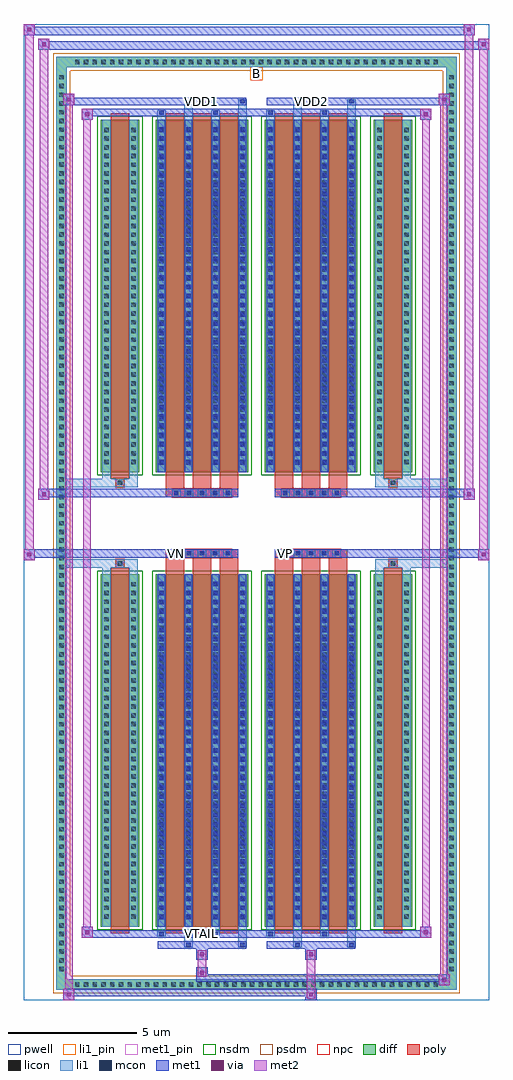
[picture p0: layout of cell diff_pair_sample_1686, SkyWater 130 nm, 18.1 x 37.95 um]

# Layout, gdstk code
import gdstk
lib = gdstk.Library(unit=1e-6, precision=5e-09)
def R(c, l, rs):  # rectangles x0, y0, x1, y1
    for r in rs: c.add(gdstk.rectangle(r[:2], r[2:], *l))
def A(c, l, x, y, w, h, nx, ny, dx, dy):  # array of equal rectangles
    R(c, l, [(x+i*dx, y+j*dy, x+i*dx+w, y+j*dy+h) for i in range(nx) for j in range(ny)])
def P(c, l, *ps):  # polygons
    for p in ps: c.add(gdstk.Polygon(p, *l))
pwell = (64, 44)
diff = (65, 20)
poly = (66, 20)
licon = (66, 44)
li1_pin = (67, 16)
li1 = (67, 20)
mcon = (67, 44)
met1_pin = (68, 16)
met1 = (68, 20)
via = (68, 44)
met2 = (69, 20)
nsdm = (93, 44)
psdm = (94, 20)
npc = (95, 20)

diff_pair_sample_1686 = lib.new_cell('diff_pair_sample_1686')
R(diff_pair_sample_1686, pwell, [(-9.05,-18.54,9.05,19.41), (-6.37,-16.73,-0.01,-0.805), (0.01,-16.73,6.37,-0.805), (-6.37,0.805,-0.01,16.73), (0.01,0.805,6.37,16.73)])
A(diff_pair_sample_1686, diff, -7.175, -18.14, 0.41, 0.41, 42, 2, 0.34, 35.87)
A(diff_pair_sample_1686, diff, -7.78, -17.545, 0.41, 0.41, 1, 103, 0, 0.34)
A(diff_pair_sample_1686, diff, 7.37, -17.545, 0.41, 0.41, 1, 103, 0, 0.34)
R(diff_pair_sample_1686, diff, [(-7.175,-18.14,7.175,-17.73), (-7.78,-17.545,-7.37,17.545), (7.37,-17.545,7.78,17.545), (-6.06,-15.685,-4.56,-1.985), (-3.92,-15.685,-0.32,-1.985), (0.32,-15.685,3.92,-1.985), (4.56,-15.685,6.06,-1.985), (-6.06,1.985,-4.56,15.685), (-3.92,1.985,-0.32,15.685), (0.32,1.985,3.92,15.685), (4.56,1.985,6.06,15.685), (-7.175,17.73,7.175,18.14)])
P(diff_pair_sample_1686, diff, [(7.78,18.14),(-7.78,18.14),(-7.78,-17.73),(-7.37,-17.73),(-7.37,17.73),(7.37,17.73),(7.37,-17.73),(-7.37,-17.73),(-7.78,-17.73),(-7.78,-18.14),(7.78,-18.14)])
A(diff_pair_sample_1686, poly, -3.53, -15.935, 0.72, 14.2, 3, 2, 1.05, 17.67)
A(diff_pair_sample_1686, poly, 0.71, -15.935, 0.72, 14.2, 3, 2, 1.05, 17.67)
A(diff_pair_sample_1686, poly, -3.53, -1.735, 0.72, 0.4, 3, 2, 1.05, 3.07)
A(diff_pair_sample_1686, poly, 0.71, -1.735, 0.72, 0.4, 3, 2, 1.05, 3.07)
A(diff_pair_sample_1686, poly, -3.285, -1.335, 0.33, 0.33, 5, 2, 0.5, 2.34)
A(diff_pair_sample_1686, poly, 0.955, -1.335, 0.33, 0.33, 5, 2, 0.5, 2.34)
R(diff_pair_sample_1686, poly, [(-5.67,-15.935,-4.95,-1.735), (4.95,-15.935,5.67,-1.735), (-5.475,-1.735,-5.145,-1.405), (-5.475,-1.735,-5.145,-1.405), (5.145,-1.735,5.475,-1.405), (5.145,-1.735,5.475,-1.405), (-3.53,-1.335,-0.71,-1.005), (0.71,-1.335,3.53,-1.005), (-3.53,1.005,-0.71,1.335), (0.71,1.005,3.53,1.335), (-5.475,1.405,-5.145,1.735), (-5.475,1.405,-5.145,1.735), (5.145,1.405,5.475,1.735), (5.145,1.405,5.475,1.735), (-5.67,1.735,-4.95,15.935), (4.95,1.735,5.67,15.935)])
A(diff_pair_sample_1686, licon, -7.055, -18.02, 0.17, 0.17, 42, 2, 0.34, 35.87)
A(diff_pair_sample_1686, licon, -7.66, -17.425, 0.17, 0.17, 1, 103, 0, 0.34)
A(diff_pair_sample_1686, licon, 7.49, -17.425, 0.17, 0.17, 1, 103, 0, 0.34)
A(diff_pair_sample_1686, licon, -5.92, -15.38, 0.17, 0.17, 1, 39, 0, 0.34)
A(diff_pair_sample_1686, licon, -4.87, -15.38, 0.17, 0.17, 1, 39, 0, 0.34)
A(diff_pair_sample_1686, licon, -3.78, -15.38, 0.17, 0.17, 4, 39, 1.05, 0.34)
A(diff_pair_sample_1686, licon, 0.46, -15.38, 0.17, 0.17, 4, 39, 1.05, 0.34)
A(diff_pair_sample_1686, licon, 4.7, -15.38, 0.17, 0.17, 1, 39, 0, 0.34)
A(diff_pair_sample_1686, licon, 5.75, -15.38, 0.17, 0.17, 1, 39, 0, 0.34)
A(diff_pair_sample_1686, licon, -3.205, -1.255, 0.17, 0.17, 5, 2, 0.5, 2.34)
A(diff_pair_sample_1686, licon, 1.035, -1.255, 0.17, 0.17, 5, 2, 0.5, 2.34)
A(diff_pair_sample_1686, licon, -5.92, 2.29, 0.17, 0.17, 1, 39, 0, 0.34)
A(diff_pair_sample_1686, licon, -4.87, 2.29, 0.17, 0.17, 1, 39, 0, 0.34)
A(diff_pair_sample_1686, licon, -3.78, 2.29, 0.17, 0.17, 4, 39, 1.05, 0.34)
A(diff_pair_sample_1686, licon, 0.46, 2.29, 0.17, 0.17, 4, 39, 1.05, 0.34)
A(diff_pair_sample_1686, licon, 4.7, 2.29, 0.17, 0.17, 1, 39, 0, 0.34)
A(diff_pair_sample_1686, licon, 5.75, 2.29, 0.17, 0.17, 1, 39, 0, 0.34)
R(diff_pair_sample_1686, licon, [(-5.395,-1.655,-5.225,-1.485), (5.225,-1.655,5.395,-1.485), (-5.395,1.485,-5.225,1.655), (5.225,1.485,5.395,1.655)])
R(diff_pair_sample_1686, li1_pin, [(-0.25,17.23,0.25,17.73)])
A(diff_pair_sample_1686, li1, -7.135, -18.1, 0.33, 0.33, 42, 2, 0.34, 35.87)
A(diff_pair_sample_1686, li1, -7.74, -17.505, 0.33, 0.33, 1, 103, 0, 0.34)
A(diff_pair_sample_1686, li1, 7.41, -17.505, 0.33, 0.33, 1, 103, 0, 0.34)
A(diff_pair_sample_1686, li1, -3.86, -15.685, 0.33, 13.7, 4, 2, 1.05, 17.67)
A(diff_pair_sample_1686, li1, 0.38, -15.685, 0.33, 13.7, 4, 2, 1.05, 17.67)
A(diff_pair_sample_1686, li1, -6, -15.46, 0.33, 0.33, 1, 39, 0, 0.34)
A(diff_pair_sample_1686, li1, -4.95, -15.46, 0.33, 0.33, 1, 39, 0, 0.34)
A(diff_pair_sample_1686, li1, -3.86, -15.46, 0.33, 0.33, 4, 39, 1.05, 0.34)
A(diff_pair_sample_1686, li1, 0.38, -15.46, 0.33, 0.33, 4, 39, 1.05, 0.34)
A(diff_pair_sample_1686, li1, 4.62, -15.46, 0.33, 0.33, 1, 39, 0, 0.34)
A(diff_pair_sample_1686, li1, 5.67, -15.46, 0.33, 0.33, 1, 39, 0, 0.34)
A(diff_pair_sample_1686, li1, -3.78, -15.4, 0.17, 0.17, 4, 37, 1.05, 0.36)
A(diff_pair_sample_1686, li1, -3.78, -15.4, 0.17, 13.13, 4, 2, 1.05, 17.67)
A(diff_pair_sample_1686, li1, 0.46, -15.4, 0.17, 0.17, 4, 37, 1.05, 0.36)
A(diff_pair_sample_1686, li1, 0.46, -15.4, 0.17, 13.13, 4, 2, 1.05, 17.67)
A(diff_pair_sample_1686, li1, -3.285, -1.335, 0.33, 0.33, 5, 2, 0.5, 2.34)
A(diff_pair_sample_1686, li1, 0.955, -1.335, 0.33, 0.33, 5, 2, 0.5, 2.34)
A(diff_pair_sample_1686, li1, -6, 2.21, 0.33, 0.33, 1, 39, 0, 0.34)
A(diff_pair_sample_1686, li1, -4.95, 2.21, 0.33, 0.33, 1, 39, 0, 0.34)
A(diff_pair_sample_1686, li1, -3.86, 2.21, 0.33, 0.33, 4, 39, 1.05, 0.34)
A(diff_pair_sample_1686, li1, 0.38, 2.21, 0.33, 0.33, 4, 39, 1.05, 0.34)
A(diff_pair_sample_1686, li1, 4.62, 2.21, 0.33, 0.33, 1, 39, 0, 0.34)
A(diff_pair_sample_1686, li1, 5.67, 2.21, 0.33, 0.33, 1, 39, 0, 0.34)
A(diff_pair_sample_1686, li1, -3.78, 2.27, 0.17, 0.17, 4, 37, 1.05, 0.36)
A(diff_pair_sample_1686, li1, 0.46, 2.27, 0.17, 0.17, 4, 37, 1.05, 0.36)
R(diff_pair_sample_1686, li1, [(-7.78,-18.14,-7.37,-17.73), (-7.78,-18.14,-7.37,-17.73), (-7.37,-18.14,7.37,-17.73), (7.37,-18.14,7.78,-17.73), (7.37,-18.14,7.78,-17.73), (-7.78,-17.73,-7.37,17.73), (7.37,-17.73,7.78,17.73), (-2.81,-16.49,-2.48,-15.685), (-2.73,-16.49,-2.56,-16.32), (-0.71,-16.49,-0.38,-15.685), (-0.63,-16.49,-0.46,-16.32), (1.43,-16.49,1.76,-15.685), (1.51,-16.49,1.68,-16.32), (3.53,-16.49,3.86,-15.685), (3.61,-16.49,3.78,-16.32), (-3.86,-16.06,-3.53,-15.685), (-3.78,-16.06,-3.61,-15.89), (-1.76,-16.06,-1.43,-15.685), (-1.68,-16.06,-1.51,-15.89), (0.38,-16.06,0.71,-15.685), (0.46,-16.06,0.63,-15.89), (2.48,-16.06,2.81,-15.685), (2.56,-16.06,2.73,-15.89), (-6,-15.685,-5.67,-1.985), (-4.95,-15.685,-4.62,-1.985), (4.62,-15.685,4.95,-1.985), (5.67,-15.685,6,-1.985), (-6,-1.985,-5.67,-1.405), (-4.95,-1.985,-4.62,-1.405), (4.62,-1.985,4.95,-1.405), (5.67,-1.985,6,-1.405), (-7.78,-1.735,-5.475,-1.405), (-6,-1.735,-5.475,-1.405), (-5.475,-1.735,-5.145,-1.405), (-5.145,-1.735,-4.62,-1.405), (4.62,-1.735,5.145,-1.405), (5.145,-1.735,5.475,-1.405), (5.145,-1.735,7.78,-1.405), (5.475,-1.735,6,-1.405), (-7.78,1.405,-5.475,1.735), (-6,1.405,-5.475,1.735), (-6,1.405,-5.67,1.985), (-5.475,1.405,-5.145,1.735), (-5.145,1.405,-4.62,1.735), (-4.95,1.405,-4.62,1.985), (4.62,1.405,5.145,1.735), (4.62,1.405,4.95,1.985), (5.145,1.405,5.475,1.735), (5.145,1.405,7.78,1.735), (5.475,1.405,6,1.735), (5.67,1.405,6,1.985), (-6,1.985,-5.67,15.685), (-4.95,1.985,-4.62,15.685), (4.62,1.985,4.95,15.685), (5.67,1.985,6,15.685), (-3.86,15.685,-3.53,16.06), (-2.81,15.685,-2.48,16.49), (-1.76,15.685,-1.43,16.06), (-0.71,15.685,-0.38,16.49), (0.38,15.685,0.71,16.06), (1.43,15.685,1.76,16.49), (2.48,15.685,2.81,16.06), (3.53,15.685,3.86,16.49), (-3.78,15.89,-3.61,16.06), (-1.68,15.89,-1.51,16.06), (0.46,15.89,0.63,16.06), (2.56,15.89,2.73,16.06), (-2.73,16.32,-2.56,16.49), (-0.63,16.32,-0.46,16.49), (1.51,16.32,1.68,16.49), (3.61,16.32,3.78,16.49), (-7.78,17.73,-7.37,18.14), (-7.78,17.73,-7.37,18.14), (-7.37,17.73,7.37,18.14), (7.37,17.73,7.78,18.14), (7.37,17.73,7.78,18.14)])
A(diff_pair_sample_1686, mcon, -3.78, -15.4, 0.17, 0.17, 4, 37, 1.05, 0.36)
A(diff_pair_sample_1686, mcon, 0.46, -15.4, 0.17, 0.17, 4, 37, 1.05, 0.36)
A(diff_pair_sample_1686, mcon, -3.205, -1.255, 0.17, 0.17, 5, 2, 0.5, 2.34)
A(diff_pair_sample_1686, mcon, 1.035, -1.255, 0.17, 0.17, 5, 2, 0.5, 2.34)
A(diff_pair_sample_1686, mcon, -3.78, 2.27, 0.17, 0.17, 4, 37, 1.05, 0.36)
A(diff_pair_sample_1686, mcon, 0.46, 2.27, 0.17, 0.17, 4, 37, 1.05, 0.36)
R(diff_pair_sample_1686, mcon, [(-2.73,-16.49,-2.56,-16.32), (-0.63,-16.49,-0.46,-16.32), (1.51,-16.49,1.68,-16.32), (3.61,-16.49,3.78,-16.32), (-3.78,-16.06,-3.61,-15.89), (-1.68,-16.06,-1.51,-15.89), (0.46,-16.06,0.63,-15.89), (2.56,-16.06,2.73,-15.89), (-3.78,15.89,-3.61,16.06), (-1.68,15.89,-1.51,16.06), (0.46,15.89,0.63,16.06), (2.56,15.89,2.73,16.06), (-2.73,16.32,-2.56,16.49), (-0.63,16.32,-0.46,16.49), (1.51,16.32,1.68,16.49), (3.61,16.32,3.78,16.49)])
R(diff_pair_sample_1686, met1_pin, [(-2.255,-16.1,-1.985,-15.83), (-3.255,-1.295,-2.985,-1.025), (0.985,-1.295,1.255,-1.025), (-2.255,16.28,-1.985,16.55), (1.985,16.28,2.255,16.55)])
A(diff_pair_sample_1686, met1, -3.84, -15.685, 0.29, 13.7, 4, 2, 1.05, 17.67)
A(diff_pair_sample_1686, met1, 0.4, -15.685, 0.29, 13.7, 4, 2, 1.05, 17.67)
A(diff_pair_sample_1686, met1, -3.84, -15.46, 0.29, 0.29, 4, 37, 1.05, 0.36)
A(diff_pair_sample_1686, met1, 0.4, -15.46, 0.29, 0.29, 4, 37, 1.05, 0.36)
A(diff_pair_sample_1686, met1, -3.265, -1.315, 0.29, 0.29, 5, 2, 0.5, 2.34)
A(diff_pair_sample_1686, met1, 0.975, -1.315, 0.29, 0.29, 5, 2, 0.5, 2.34)
A(diff_pair_sample_1686, met1, -3.84, 2.21, 0.29, 0.29, 4, 37, 1.05, 0.36)
A(diff_pair_sample_1686, met1, 0.4, 2.21, 0.29, 0.29, 4, 37, 1.05, 0.36)
R(diff_pair_sample_1686, met1, [(-7.51,-18.54,-7.08,-18.11), (1.905,-18.54,2.335,-18.11), (-7.51,-18.4,2.335,-18.11), (7.08,-17.97,7.51,-17.54), (-2.335,-17.83,7.51,-17.54), (-2.335,-17.69,-1.905,-17.26), (-2.335,-16.98,-1.905,-16.55), (1.905,-16.98,2.335,-16.55), (-3.84,-16.55,-0.4,-16.26), (-2.79,-16.55,-2.5,-16.26), (-0.69,-16.55,-0.4,-16.26), (0.4,-16.55,3.84,-16.26), (1.45,-16.55,1.74,-16.26), (3.55,-16.55,3.84,-16.26), (-6.8,-16.12,-6.37,-15.69), (-6.8,-16.12,-3.84,-15.83), (-3.84,-16.12,-3.55,-15.83), (-3.84,-16.12,-0.4,-15.83), (-1.74,-16.12,-1.45,-15.83), (-0.4,-16.12,0.4,-15.83), (0.4,-16.12,0.69,-15.83), (0.4,-16.12,3.84,-15.83), (2.5,-16.12,2.79,-15.83), (3.84,-16.12,6.8,-15.83), (6.37,-16.12,6.8,-15.69), (-9.05,-1.435,-8.62,-1.005), (8.62,-1.435,9.05,-1.005), (-9.05,-1.335,-0.71,-1.005), (-3.53,-1.335,-0.71,-1.005), (0.71,-1.335,3.53,-1.005), (0.71,-1.335,9.05,-1.005), (-8.48,0.905,-8.05,1.335), (8.05,0.905,8.48,1.335), (-8.48,1.005,-3.53,1.335), (-3.53,1.005,-0.71,1.335), (0.71,1.005,3.53,1.335), (3.53,1.005,8.48,1.335), (-6.8,15.69,-6.37,16.12), (6.37,15.69,6.8,16.12), (-6.8,15.83,-3.84,16.12), (-3.84,15.83,-3.55,16.12), (-3.84,15.83,-0.4,16.12), (-1.74,15.83,-1.45,16.12), (-0.4,15.83,0.4,16.12), (0.4,15.83,0.69,16.12), (0.4,15.83,3.84,16.12), (2.5,15.83,2.79,16.12), (3.84,15.83,6.8,16.12), (-7.51,16.26,-7.08,16.69), (-7.51,16.26,-3.84,16.55), (-3.84,16.26,-0.4,16.55), (-2.79,16.26,-2.5,16.55), (-0.69,16.26,-0.4,16.55), (0.4,16.26,3.84,16.55), (1.45,16.26,1.74,16.55), (3.55,16.26,3.84,16.55), (3.84,16.26,7.51,16.55), (7.08,16.26,7.51,16.69), (-8.48,18.41,-8.05,18.84), (-8.48,18.41,-6.37,18.74), (-6.37,18.41,6.37,18.74), (6.37,18.41,9.05,18.74), (8.62,18.41,9.05,18.84), (-9.05,18.98,-8.62,19.41), (-9.05,18.98,-6.37,19.31), (-6.37,18.98,6.37,19.31), (6.37,18.98,8.48,19.31), (8.05,18.98,8.48,19.41)])
R(diff_pair_sample_1686, via, [(-7.37,-18.4,-7.22,-18.25), (2.045,-18.4,2.195,-18.25), (7.22,-17.83,7.37,-17.68), (-2.195,-17.55,-2.045,-17.4), (-2.195,-16.84,-2.045,-16.69), (2.045,-16.84,2.195,-16.69), (-6.66,-15.98,-6.51,-15.83), (6.51,-15.98,6.66,-15.83), (-8.91,-1.295,-8.76,-1.145), (8.76,-1.295,8.91,-1.145), (-8.34,1.045,-8.19,1.195), (8.19,1.045,8.34,1.195), (-6.66,15.83,-6.51,15.98), (6.51,15.83,6.66,15.98), (-7.37,16.4,-7.22,16.55), (7.22,16.4,7.37,16.55), (-8.34,18.55,-8.19,18.7), (8.76,18.55,8.91,18.7), (-8.91,19.12,-8.76,19.27), (8.19,19.12,8.34,19.27)])
R(diff_pair_sample_1686, met2, [(-7.51,-18.54,-7.08,-18.11), (-7.44,-18.54,-7.15,16.69), (-7.15,-18.54,-7.08,-18.11), (-7.46,-18.49,-7.13,-18.16), (1.955,-18.49,2.285,-18.16), (1.955,-18.16,2.285,-16.93), (7.08,-17.97,7.51,-17.54), (7.15,-17.97,7.44,16.69), (7.44,-17.97,7.51,-17.54), (7.13,-17.92,7.46,-17.59), (-2.285,-17.64,-1.955,-17.31), (-2.285,-17.31,-1.955,-16.93), (-2.285,-16.93,-1.955,-16.6), (1.955,-16.93,2.285,-16.6), (-6.8,-16.12,-6.37,-15.69), (-6.73,-16.12,-6.44,16.12), (-6.44,-16.12,-6.37,-15.69), (6.37,-16.12,6.8,-15.69), (6.44,-16.12,6.73,16.12), (6.73,-16.12,6.8,-15.69), (-6.75,-16.07,-6.42,-15.74), (6.42,-16.07,6.75,-15.74), (-9.05,-1.435,-8.62,-1.005), (-9,-1.435,-8.67,19.41), (-8.67,-1.435,-8.62,-1.005), (8.62,-1.435,9.05,-1.005), (8.67,-1.435,9,18.84), (9,-1.435,9.05,-1.005), (-9,-1.385,-8.67,-1.055), (8.67,-1.385,9,-1.055), (-8.48,0.905,-8.05,1.335), (-8.43,0.905,-8.1,18.84), (-8.1,0.905,-8.05,1.335), (8.05,0.905,8.48,1.335), (8.1,0.905,8.43,19.41), (8.43,0.905,8.48,1.335), (-8.43,0.955,-8.1,1.285), (8.1,0.955,8.43,1.285), (-6.8,15.69,-6.37,16.12), (-6.44,15.69,-6.37,16.12), (6.37,15.69,6.8,16.12), (6.73,15.69,6.8,16.12), (-6.75,15.74,-6.42,16.07), (6.42,15.74,6.75,16.07), (-7.51,16.26,-7.08,16.69), (-7.15,16.26,-7.08,16.69), (7.08,16.26,7.51,16.69), (7.44,16.26,7.51,16.69), (-7.46,16.31,-7.13,16.64), (7.13,16.31,7.46,16.64), (-8.48,18.41,-8.05,18.84), (-8.1,18.41,-8.05,18.84), (8.62,18.41,9.05,18.84), (9,18.41,9.05,18.84), (-8.43,18.46,-8.1,18.79), (8.67,18.46,9,18.79), (-9.05,18.98,-8.62,19.41), (-8.67,18.98,-8.62,19.41), (8.05,18.98,8.48,19.41), (8.43,18.98,8.48,19.41), (-9,19.03,-8.67,19.36), (8.1,19.03,8.43,19.36)])
R(diff_pair_sample_1686, nsdm, [(-6.19,-15.815,-4.43,-1.855), (-4.05,-15.815,-0.19,-1.855), (0.19,-15.815,4.05,-1.855), (4.43,-15.815,6.19,-1.855), (-6.19,1.855,-4.43,15.815), (-4.05,1.855,-0.19,15.815), (0.19,1.855,4.05,15.815), (4.43,1.855,6.19,15.815)])
P(diff_pair_sample_1686, psdm, [(7.91,18.27),(-7.91,18.27),(-7.91,-17.6),(-7.24,-17.6),(-7.24,17.6),(7.24,17.6),(7.24,-17.6),(-7.24,-17.6),(-7.91,-17.6),(-7.91,-18.27),(7.91,-18.27)])
A(diff_pair_sample_1686, npc, -3.305, -1.355, 0.37, 0.37, 5, 2, 0.5, 2.34)
A(diff_pair_sample_1686, npc, 0.935, -1.355, 0.37, 0.37, 5, 2, 0.5, 2.34)
R(diff_pair_sample_1686, npc, [(-5.495,-1.755,-5.125,-1.385), (5.125,-1.755,5.495,-1.385), (-3.305,-1.355,-2.435,-0.985), (-3.305,-1.355,-2.435,-0.985), (-2.805,-1.355,-1.935,-0.985), (-2.805,-1.355,-1.935,-0.985), (-2.305,-1.355,-1.435,-0.985), (-2.305,-1.355,-1.435,-0.985), (-1.805,-1.355,-0.935,-0.985), (-1.805,-1.355,-0.935,-0.985), (0.935,-1.355,1.805,-0.985), (0.935,-1.355,1.805,-0.985), (1.435,-1.355,2.305,-0.985), (1.435,-1.355,2.305,-0.985), (1.935,-1.355,2.805,-0.985), (1.935,-1.355,2.805,-0.985), (2.435,-1.355,3.305,-0.985), (2.435,-1.355,3.305,-0.985), (-3.305,0.985,-2.435,1.355), (-3.305,0.985,-2.435,1.355), (-2.805,0.985,-1.935,1.355), (-2.805,0.985,-1.935,1.355), (-2.305,0.985,-1.435,1.355), (-2.305,0.985,-1.435,1.355), (-1.805,0.985,-0.935,1.355), (-1.805,0.985,-0.935,1.355), (0.935,0.985,1.805,1.355), (0.935,0.985,1.805,1.355), (1.435,0.985,2.305,1.355), (1.435,0.985,2.305,1.355), (1.935,0.985,2.805,1.355), (1.935,0.985,2.805,1.355), (2.435,0.985,3.305,1.355), (2.435,0.985,3.305,1.355), (-5.495,1.385,-5.125,1.755), (5.125,1.385,5.495,1.755)])
diff_pair_sample_1686.add(gdstk.Label('VTAIL', (-2.12,-15.965), layer=68, texttype=5))
diff_pair_sample_1686.add(gdstk.Label('VN', (-3.12,-1.16), layer=68, texttype=5))
diff_pair_sample_1686.add(gdstk.Label('VP', (1.12,-1.16), layer=68, texttype=5))
diff_pair_sample_1686.add(gdstk.Label('B', (0,17.48), layer=67, texttype=5))
diff_pair_sample_1686.add(gdstk.Label('VDD2', (2.12,16.415), layer=68, texttype=5))
diff_pair_sample_1686.add(gdstk.Label('VDD1', (-2.12,16.415), layer=68, texttype=5))

lib.write_gds('diff_pair_sample_1686.gds')
